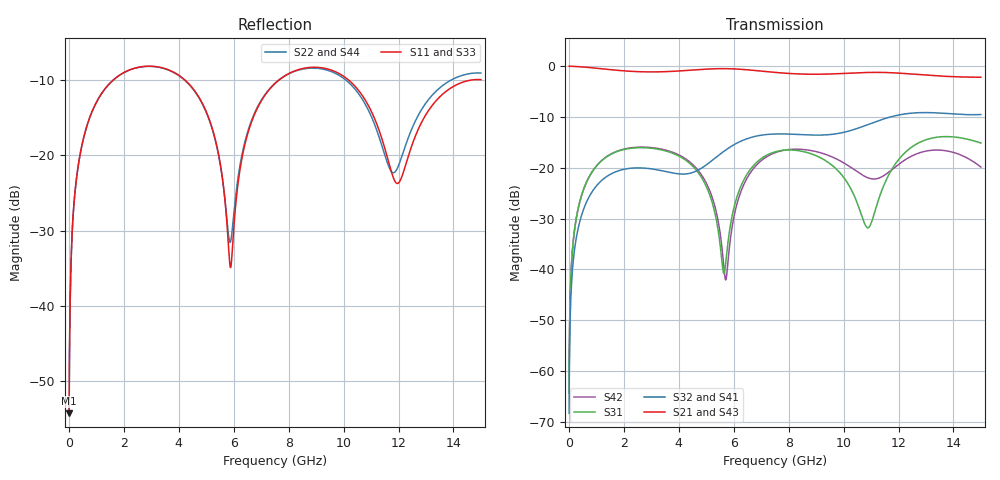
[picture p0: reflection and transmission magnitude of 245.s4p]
! Created with skrf 1.8.0 (http://scikit-rf.org).
# GHz S RI R 50.0
!freq ReS11 ImS11 ReS12 ImS12 ReS13 ImS13
! ReS14 ImS14
! ReS21 ImS21 ReS22 ImS22 ReS23 ImS23
! ReS24 ImS24
! ReS31 ImS31 ReS32 ImS32 ReS33 ImS33
! ReS34 ImS34
! ReS41 ImS41 ReS42 ImS42 ReS43 ImS43
! ReS44 ImS44
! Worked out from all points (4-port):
!   2499 points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, 5 MHz to 15 GHz, reference 50 ohm
!   strongest paths, dB at 5 MHz, 3.476 GHz, 7.19 GHz, 11.1 GHz, 15 GHz:
!     S21: 0.0, -1.1, -1.1, -1.2, -2.2
!     S43: 0.0, -1.1, -1.1, -1.2, -2.2
!     S32: -68.3, -20.7, -13.5, -11.1, -9.5
!     S41: -68.3, -20.8, -13.5, -11.1, -9.5
!     S31: -64.3, -16.6, -17.5, -29.3, -15.1
!     S42: -64.3, -16.5, -17.9, -22.2, -19.8
!   lowest |S11| = -54.3 dB at 5 MHz (marker M1), VSWR 1.00, Z = 50.2 + j0.116 ohm
!   |S11| at or under -10 dB: start of sweep to 1.597 GHz; 4.236 GHz to 7.63 GHz (3.393 GHz wide, 57.2 % of centre); 10.2 GHz to 14.58 GHz (4.382 GHz wide, 35.4 % of centre)
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0.005  0.00153 0.00116  0.9984 -0.00297  7.62e-05 0.000602  -7.41e-05 -0.000378
       0.9984 -0.00297  0.00153 0.00116  -7.41e-05 -0.000378  7.62e-05 0.000602
       7.62e-05 0.000602  -7.41e-05 -0.000378  0.00153 0.00116  0.9984 -0.00297
       -7.41e-05 -0.000378  7.62e-05 0.000602  0.9984 -0.00297  0.00153 0.00116
0.3626511  0.0267 0.0877  0.9632 -0.2134  0.0124 0.0411  -0.0104 -0.0254
           0.9632 -0.2134  0.0267 0.0877  -0.0104 -0.0254  0.0127 0.041
           0.0124 0.0411  -0.0104 -0.0254  0.0267 0.0877  0.9632 -0.2134
           -0.0104 -0.0254  0.0127 0.041  0.9632 -0.2134  0.0267 0.0877
1.619545  0.2619 0.182  0.5682 -0.7188  0.1233 0.0658  -0.0888 -0.00927
          0.5682 -0.7188  0.261 0.1825  -0.0889 -0.00912  0.1261 0.0621
          0.1233 0.0658  -0.0889 -0.00912  0.2619 0.1821  0.5683 -0.7188
          -0.0888 -0.00927  0.1261 0.0621  0.5683 -0.7188  0.2611 0.1825
5.883702  0.0179 -0.000146  -0.9393 -0.0627  0.0151 0.0233  -0.0076 0.1608
          -0.9393 -0.0627  0.0264 0.00329  -0.00433 0.1609  -0.0019 0.0204
          0.0151 0.0233  -0.00433 0.1609  0.0201 -9.5e-05  -0.9393 -0.0627
          -0.0076 0.1608  -0.0019 0.0204  -0.9393 -0.0627  0.0242 0.00322
9.147561  0.3835 -0.0322  0.021 0.8318  0.0987 -0.0782  0.2024 -0.0504
          0.021 0.8318  0.3771 -0.0337  0.2019 -0.0566  0.0955 -0.1035
          0.0987 -0.0782  0.2019 -0.0566  0.3834 -0.033  0.0211 0.8316
          0.2024 -0.0504  0.0955 -0.1035  0.0211 0.8316  0.3782 -0.0332
11.91747  0.0645 -0.0119  0.8529 0.0705  0.0349 0.1067  0.0255 -0.3262
          0.8529 0.0705  0.0785 0.0132  0.0137 -0.3263  -0.0335 0.098
          0.0349 0.1067  0.0137 -0.3263  0.0684 -0.0136  0.8529 0.0704
          0.0255 -0.3262  -0.0335 0.098  0.8529 0.0704  0.0739 0.0142
15  0.3196 0.0138  0.0606 -0.7747  0.0754 -0.1583  -0.3334 -0.00189
    0.0606 -0.7747  0.3537 -0.0107  -0.3339 0.0138  0.0606 -0.0817
    0.0754 -0.1583  -0.3339 0.0138  0.3213 0.0107  0.0599 -0.7738
    -0.3334 -0.00189  0.0606 -0.0817  0.0599 -0.7738  0.3568 -0.00669
